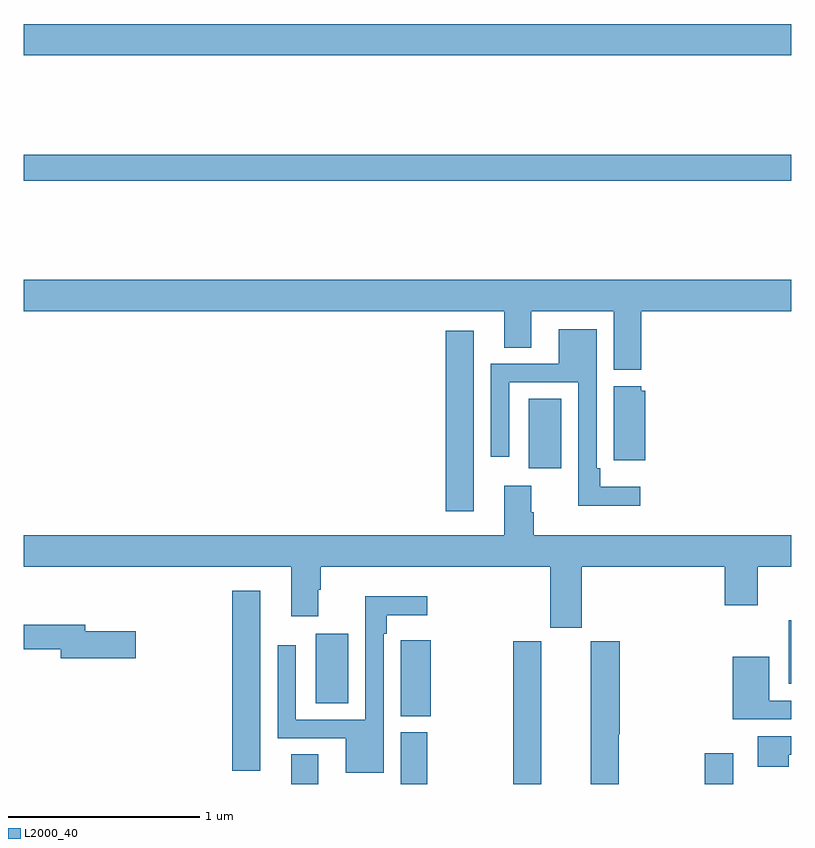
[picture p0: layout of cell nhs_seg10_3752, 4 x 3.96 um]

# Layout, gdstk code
import gdstk
lib = gdstk.Library(unit=1e-6, precision=1e-09)
def R(c, l, rs):  # rectangles x0, y0, x1, y1
    for r in rs: c.add(gdstk.rectangle(r[:2], r[2:], *l))
def P(c, l, *ps):  # polygons
    for p in ps: c.add(gdstk.Polygon(p, *l))
L2000_40 = (2000, 40)

nhs_seg10_3752 = lib.new_cell('nhs_seg10_3752')
R(nhs_seg10_3752, L2000_40, [(316.394,1316.5,316.534,1316.654), (316.964,1316.5,317.103,1316.769), (317.551,1316.5,317.698,1317.243), (318.55,1316.5,318.697,1316.659), (316.088,1316.568,316.234,1317.508), (316.523,1316.92,316.69,1317.283), (318.986,1317.023,319,1317.352), (317.198,1317.921,317.344,1318.861), (317.633,1318.146,317.8,1318.508), (315,1319.644,319,1319.78), (315,1320.296,319,1320.46)])
P(nhs_seg10_3752, L2000_40, [(318.218,1318.964),(319,1318.964),(319,1319.128),(315,1319.128),(315,1318.964),(317.504,1318.964),(317.504,1318.774),(317.644,1318.774),(317.644,1318.964),(318.074,1318.964),(318.074,1318.658),(318.218,1318.658)],
  [(318.214,1318.048),(318.005,1318.048),(318.005,1318.144),(317.985,1318.144),(317.985,1318.87),(317.789,1318.87),(317.789,1318.689),(317.433,1318.689),(317.433,1318.206),(317.529,1318.206),(317.529,1318.593),(317.889,1318.593),(317.889,1317.95),(318.214,1317.95)],
  [(318.238,1318.548),(318.219,1318.548),(318.219,1318.573),(318.074,1318.573),(318.074,1318.187),(318.238,1318.187)],
  [(317.908,1317.632),(318.653,1317.632),(318.653,1317.432),(318.825,1317.432),(318.825,1317.632),(319,1317.632),(319,1317.796),(317.657,1317.796),(317.657,1317.917),(317.644,1317.917),(317.644,1318.054),(317.504,1318.054),(317.504,1317.796),(315,1317.796),(315,1317.632),(316.394,1317.632),(316.394,1317.375),(316.534,1317.375),(316.534,1317.512),(316.547,1317.512),(316.547,1317.632),(317.744,1317.632),(317.744,1317.315),(317.908,1317.315)],
  [(316.875,1317.284),(316.891,1317.284),(316.891,1317.38),(317.104,1317.38),(317.104,1317.478),(316.779,1317.478),(316.779,1316.835),(316.419,1316.835),(316.419,1317.223),(316.323,1317.223),(316.323,1316.739),(316.679,1316.739),(316.679,1316.558),(316.875,1316.558)],
  [(315.583,1317.297),(315.322,1317.297),(315.322,1317.331),(315,1317.331),(315,1317.202),(315.194,1317.202),(315.194,1317.155),(315.583,1317.155)],
  [(317.121,1317.25),(316.965,1317.25),(316.965,1317.137),(316.964,1317.137),(316.964,1316.854),(317.121,1316.854)],
  [(318.102,1316.76),(318.107,1316.76),(318.107,1317.243),(317.954,1317.243),(317.954,1316.5),(318.102,1316.5)],
  [(319,1316.934),(318.886,1316.934),(318.886,1317.163),(318.695,1317.163),(318.695,1316.838),(319,1316.838)],
  [(318.986,1316.652),(319,1316.652),(319,1316.748),(318.825,1316.748),(318.825,1316.589),(318.986,1316.589)])

lib.write_gds('nhs_seg10_3752.gds')
